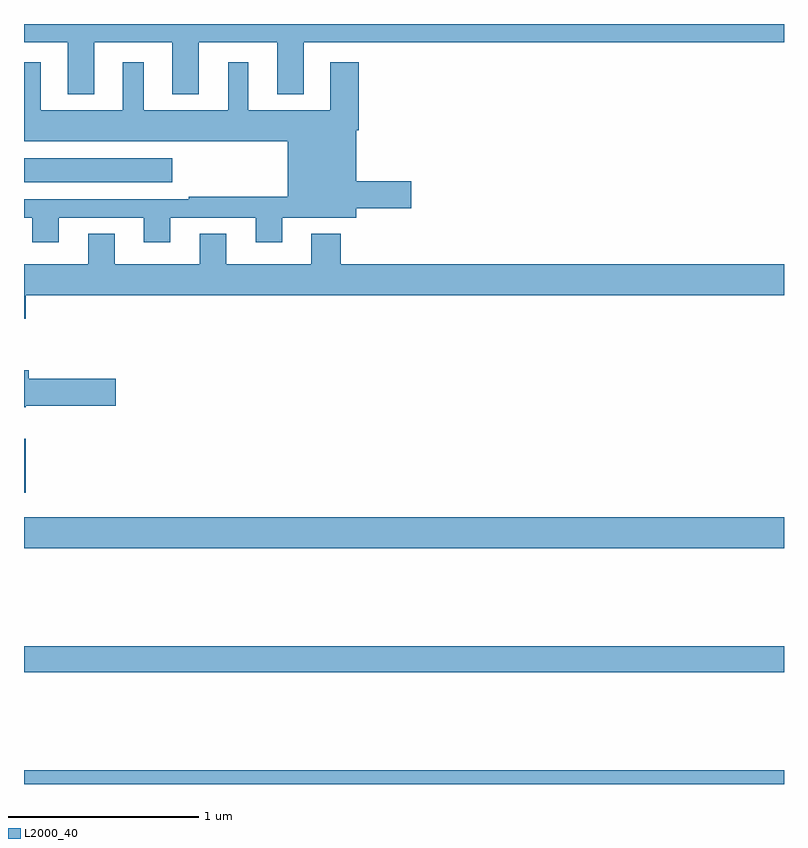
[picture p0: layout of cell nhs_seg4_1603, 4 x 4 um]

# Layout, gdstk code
import gdstk
lib = gdstk.Library(unit=1e-6, precision=1e-09)
def R(c, l, rs):  # rectangles x0, y0, x1, y1
    for r in rs: c.add(gdstk.rectangle(r[:2], r[2:], *l))
def P(c, l, *ps):  # polygons
    for p in ps: c.add(gdstk.Polygon(p, *l))
L2000_40 = (2000, 40)

nhs_seg4_1603 = lib.new_cell('nhs_seg4_1603')
R(nhs_seg4_1603, L2000_40, [(193,808.9,197,808.972), (193,809.488,197,809.624), (193,810.14,197,810.304), (193,810.432,193.01,810.718), (193,812.066,193.78,812.194)])
P(nhs_seg4_1603, L2000_40, [(193.369,812.804),(193.781,812.804),(193.781,812.531),(193.921,812.531),(193.921,812.804),(194.333,812.804),(194.333,812.531),(194.473,812.531),(194.473,812.804),(197,812.804),(197,812.9),(193,812.9),(193,812.804),(193.229,812.804),(193.229,812.531),(193.369,812.531)],
  [(193.183,811.881),(193.631,811.881),(193.631,811.752),(193.771,811.752),(193.771,811.881),(194.219,811.881),(194.219,811.752),(194.359,811.752),(194.359,811.88),(194.749,811.88),(194.749,811.93),(195.037,811.93),(195.037,812.072),(194.749,812.072),(194.749,812.342),(194.762,812.342),(194.762,812.698),(194.612,812.698),(194.612,812.446),(194.179,812.446),(194.179,812.698),(194.075,812.698),(194.075,812.446),(193.63,812.446),(193.63,812.698),(193.52,812.698),(193.52,812.446),(193.087,812.446),(193.087,812.698),(193,812.698),(193,812.282),(194.387,812.282),(194.387,811.99),(193.867,811.99),(193.867,811.977),(193,811.977),(193,811.881),(193.043,811.881),(193.043,811.752),(193.183,811.752)],
  [(193.01,811.472),(197,811.472),(197,811.636),(194.666,811.636),(194.666,811.795),(194.513,811.795),(194.513,811.636),(194.065,811.636),(194.065,811.796),(193.925,811.796),(193.925,811.636),(193.477,811.636),(193.477,811.796),(193.337,811.796),(193.337,811.636),(193,811.636),(193,811.348),(193.01,811.348)],
  [(193.008,810.89),(193.483,810.89),(193.483,811.032),(193.025,811.032),(193.025,811.078),(193,811.078),(193,810.884),(193.008,810.884)])

lib.write_gds('nhs_seg4_1603.gds')
